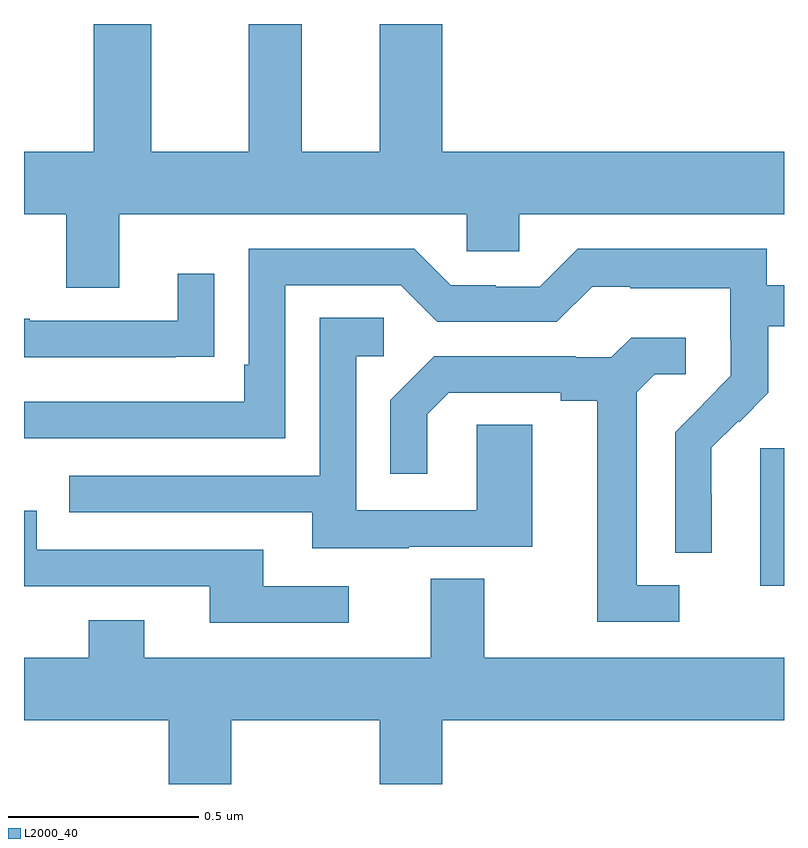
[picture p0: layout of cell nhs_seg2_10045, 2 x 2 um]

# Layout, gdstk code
import gdstk
lib = gdstk.Library(unit=1e-6, precision=1e-09)
def R(c, l, rs):  # rectangles x0, y0, x1, y1
    for r in rs: c.add(gdstk.rectangle(r[:2], r[2:], *l))
def P(c, l, *ps):  # polygons
    for p in ps: c.add(gdstk.Polygon(p, *l))
L2000_40 = (2000, 40)

nhs_seg2_10045 = lib.new_cell('nhs_seg2_10045')
R(nhs_seg2_10045, L2000_40, [(237.938,649.322,238,649.683)])
P(nhs_seg2_10045, L2000_40, [(236.251,650.3),(237.165,650.3),(237.165,650.202),(237.303,650.202),(237.303,650.3),(238,650.3),(238,650.464),(237.1,650.464),(237.1,650.8),(236.936,650.8),(236.936,650.464),(236.731,650.464),(236.731,650.8),(236.591,650.8),(236.591,650.464),(236.335,650.464),(236.335,650.8),(236.183,650.8),(236.183,650.464),(236,650.464),(236,650.3),(236.111,650.3),(236.111,650.106),(236.251,650.106)],
  [(237.81,649.562),(237.809,649.562),(237.809,649.685),(237.879,649.755),(237.882,649.752),(237.959,649.829),(237.959,650.004),(238,650.004),(238,650.112),(237.954,650.112),(237.954,650.209),(237.457,650.209),(237.357,650.109),(237.242,650.109),(237.242,650.112),(237.123,650.112),(237.027,650.208),(236.592,650.208),(236.592,649.903),(236.579,649.903),(236.579,649.806),(236,649.806),(236,649.71),(236.688,649.71),(236.688,650.112),(236.991,650.112),(237.087,650.016),(237.402,650.016),(237.495,650.109),(237.595,650.109),(237.595,650.105),(237.858,650.105),(237.858,649.971),(237.86,649.971),(237.86,649.874),(237.786,649.8),(237.787,649.799),(237.714,649.726),(237.714,649.408),(237.81,649.408)],
  [(236.399,649.924),(236.501,649.924),(236.501,650.143),(236.405,650.143),(236.405,650.019),(236.015,650.019),(236.015,650.024),(236,650.024),(236,649.923),(236.399,649.923)],
  [(237.013,649.425),(237.337,649.425),(237.337,649.745),(237.192,649.745),(237.192,649.521),(236.874,649.521),(236.874,649.926),(236.947,649.926),(236.947,650.027),(236.778,650.027),(236.778,649.611),(236.119,649.611),(236.119,649.515),(236.759,649.515),(236.759,649.421),(237.013,649.421)],
  [(237.724,649.323),(237.613,649.323),(237.613,649.831),(237.66,649.878),(237.742,649.878),(237.742,649.975),(237.598,649.975),(237.546,649.923),(237.452,649.923),(237.452,649.926),(237.08,649.926),(236.964,649.81),(236.964,649.617),(237.061,649.617),(237.061,649.773),(237.118,649.83),(237.413,649.83),(237.413,649.808),(237.509,649.808),(237.509,649.227),(237.724,649.227)],
  [(236.854,649.32),(236.629,649.32),(236.629,649.416),(236.034,649.416),(236.034,649.519),(236,649.519),(236,649.32),(236.489,649.32),(236.489,649.224),(236.854,649.224)],
  [(236.545,648.968),(236.936,648.968),(236.936,648.8),(237.1,648.8),(237.1,648.968),(238,648.968),(238,649.132),(237.211,649.132),(237.211,649.34),(237.071,649.34),(237.071,649.132),(236.317,649.132),(236.317,649.231),(236.17,649.231),(236.17,649.132),(236,649.132),(236,648.968),(236.381,648.968),(236.381,648.8),(236.545,648.8)])

lib.write_gds('nhs_seg2_10045.gds')
